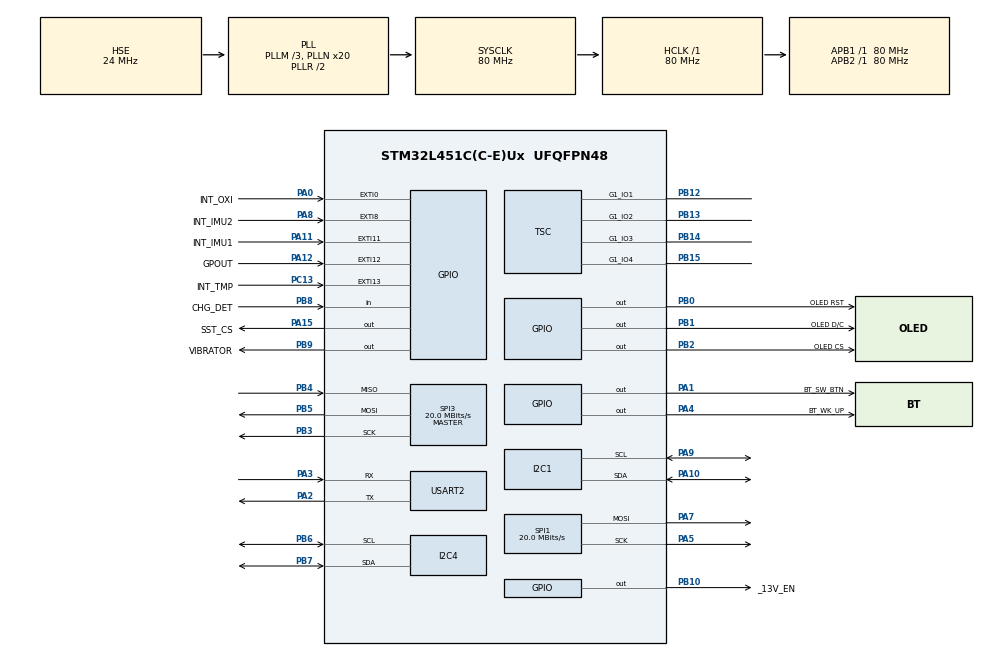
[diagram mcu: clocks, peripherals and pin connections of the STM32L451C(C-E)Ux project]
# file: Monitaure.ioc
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I2C1.Timing=0x10909CEC
I2C4.Timing=0x10909CEC
Mcu.Family=STM32L4
Mcu.Name=STM32L451C(C-E)Ux
Mcu.Package=UFQFPN48
NVIC.EXTI0_IRQn=true\:0\:0\:false\:false\:true\:true\:true
NVIC.EXTI9_5_IRQn=true\:0\:0\:false\:false\:true\:true\:true
NVIC.PriorityGroup=NVIC_PRIORITYGROUP_4
PA0.GPIO_Label=INT_OXI
PA0.GPIO_ModeDefaultEXTI=GPIO_MODE_IT_FALLING
PA0.GPIO_PuPd=GPIO_PULLUP
PA0.Signal=GPXTI0
PA1.GPIO_Label=BT_SW_BTN
PA1.GPIO_ModeDefaultOutputPP=GPIO_MODE_OUTPUT_PP
PA1.GPIO_PuPd=GPIO_NOPULL
PA1.GPIO_Speed=GPIO_SPEED_FREQ_MEDIUM
PA1.PinState=GPIO_PIN_RESET
PA1.Signal=GPIO_Output
PA10.GPIO_PuPdOD=GPIO_NOPULL
PA10.Mode=I2C
PA10.Signal=I2C1_SDA
PA11.GPIO_Label=INT_IMU1
PA11.GPIO_ModeDefaultEXTI=GPIO_MODE_IT_FALLING
PA11.GPIO_PuPd=GPIO_NOPULL
PA11.Signal=GPXTI11
PA12.GPIO_Label=GPOUT
PA12.GPIO_ModeDefaultEXTI=GPIO_MODE_IT_FALLING
PA12.Signal=GPXTI12
PA13\ (JTMS/SWDIO).Mode=Serial_Wire
PA13\ (JTMS/SWDIO).Signal=SYS_JTMS-SWDIO
PA14\ (JTCK/SWCLK).Mode=Serial_Wire
PA14\ (JTCK/SWCLK).Signal=SYS_JTCK-SWCLK
PA15\ (JTDI).GPIO_Label=SST_CS
PA15\ (JTDI).PinState=GPIO_PIN_SET
PA15\ (JTDI).Signal=GPIO_Output
PA2.GPIO_ModeDefaultPP=GPIO_MODE_AF_PP
PA2.GPIO_PuPd=GPIO_PULLUP
PA2.Mode=Asynchronous
PA2.Signal=USART2_TX
PA3.GPIO_ModeDefaultPP=GPIO_MODE_AF_PP
PA3.GPIO_PuPd=GPIO_PULLUP
PA3.Mode=Asynchronous
PA3.Signal=USART2_RX
PA4.GPIO_Label=BT_WK_UP
PA4.GPIO_ModeDefaultOutputPP=GPIO_MODE_OUTPUT_OD
PA4.GPIO_Speed=GPIO_SPEED_FREQ_MEDIUM
PA4.PinState=GPIO_PIN_SET
PA4.Signal=GPIO_Output
PA5.Mode=TX_Only_Simplex_Unidirect_Master
PA5.Signal=SPI1_SCK
PA7.Mode=TX_Only_Simplex_Unidirect_Master
PA7.Signal=SPI1_MOSI
PA8.GPIO_Label=INT_IMU2
PA8.GPIO_ModeDefaultEXTI=GPIO_MODE_IT_FALLING
PA8.GPIO_PuPd=GPIO_NOPULL
PA8.Signal=GPXTI8
PA9.GPIO_PuPdOD=GPIO_NOPULL
PA9.Mode=I2C
PA9.Signal=I2C1_SCL
PB0.GPIO_Label=OLED RST
PB0.Signal=GPIO_Output
PB1.GPIO_Label=OLED D/C
PB1.Signal=GPIO_Output
PB10.GPIO_Label=_13V_EN
PB10.Signal=GPIO_Output
PB12.Mode=G1_IO1-Channel
PB12.Signal=TSC_G1_IO1
PB13.Mode=G1_IO2-Channel
PB13.Signal=TSC_G1_IO2
PB14.Mode=G1_IO3-Channel
PB14.Signal=TSC_G1_IO3
PB15.Mode=G1_IO4-Sampling
PB15.Signal=TSC_G1_IO4
PB2.GPIO_Label=OLED CS
PB2.PinState=GPIO_PIN_SET
PB2.Signal=GPIO_Output
PB3\ (JTDO/TRACESWO).Mode=Full_Duplex_Master
PB3\ (JTDO/TRACESWO).Signal=SPI3_SCK
PB4\ (NJTRST).Mode=Full_Duplex_Master
PB4\ (NJTRST).Signal=SPI3_MISO
PB5.Mode=Full_Duplex_Master
PB5.Signal=SPI3_MOSI
PB6.GPIO_FM6=I2C_FASTMODEPLUS_PB6
PB6.GPIO_PuPdOD=GPIO_NOPULL
PB6.Mode=I2C
PB6.Signal=I2C4_SCL
PB7.GPIO_FM7=I2C_FASTMODEPLUS_PB7
PB7.GPIO_PuPdOD=GPIO_NOPULL
PB7.Mode=I2C
PB7.Signal=I2C4_SDA
PB8.GPIO_Label=CHG_DET
PB8.Signal=GPIO_Input
PB9.GPIO_Label=VIBRATOR
PB9.GPIO_ModeDefaultOutputPP=GPIO_MODE_OUTPUT_PP
PB9.GPIO_PuPd=GPIO_NOPULL
PB9.GPIO_Speed=GPIO_SPEED_FREQ_MEDIUM
PB9.PinState=GPIO_PIN_RESET
PB9.Signal=GPIO_Output
PC13.GPIO_Label=INT_TMP
PC13.GPIO_ModeDefaultEXTI=GPIO_MODE_IT_FALLING
PC13.GPIO_PuPd=GPIO_PULLUP
PC13.Signal=GPXTI13
PC14-OSC32_IN\ (PC14).Mode=LSE-External-Oscillator
PC14-OSC32_IN\ (PC14).Signal=RCC_OSC32_IN
PC15-OSC32_OUT\ (PC15).Mode=LSE-External-Oscillator
PC15-OSC32_OUT\ (PC15).Signal=RCC_OSC32_OUT
PH0-OSC_IN\ (PH0).Mode=HSE-External-Oscillator
PH0-OSC_IN\ (PH0).Signal=RCC_OSC_IN
PH1-OSC_OUT\ (PH1).Mode=HSE-External-Oscillator
PH1-OSC_OUT\ (PH1).Signal=RCC_OSC_OUT
ProjectManager.HeapSize=0x200
ProjectManager.StackSize=0x400
ProjectManager.TargetToolchain=STM32CubeIDE
RCC.ADCFreq_Value=32000000
RCC.AHBFreq_Value=80000000
RCC.APB1Freq_Value=80000000
RCC.APB1TimFreq_Value=80000000
RCC.APB2Freq_Value=80000000
RCC.APB2TimFreq_Value=80000000
RCC.CortexFreq_Value=80000000
RCC.HCLKFreq_Value=80000000
RCC.HSE_VALUE=24000000
RCC.HSI48_VALUE=48000000
RCC.HSI_VALUE=16000000
RCC.MSI_VALUE=4000000
RCC.PLLM=3
RCC.PLLN=20
RCC.PLLSourceVirtual=RCC_PLLSOURCE_HSE
RCC.RTCClockSelection=RCC_RTCCLKSOURCE_LSE
RCC.SYSCLKFreq_VALUE=80000000
RCC.SYSCLKSource=RCC_SYSCLKSOURCE_PLLCLK
RCC.VCOOutputFreq_Value=160000000
SPI1.BaudRatePrescaler=SPI_BAUDRATEPRESCALER_4
SPI1.CalculateBaudRate=20.0 MBits/s
SPI1.DataSize=SPI_DATASIZE_8BIT
SPI1.Direction=SPI_DIRECTION_2LINES
SPI1.Mode=SPI_MODE_MASTER
SPI1.VirtualType=VM_MASTER
SPI3.BaudRatePrescaler=SPI_BAUDRATEPRESCALER_4
SPI3.CalculateBaudRate=20.0 MBits/s
SPI3.DataSize=SPI_DATASIZE_8BIT
SPI3.Direction=SPI_DIRECTION_2LINES
SPI3.Mode=SPI_MODE_MASTER
SPI3.VirtualType=VM_MASTER
TSC.ChannelIOs-G1_IO1-Channel=TSC_GROUP1_IO1
TSC.ChannelIOs-G1_IO2-Channel=TSC_GROUP1_IO2
TSC.ChannelIOs-G1_IO3-Channel=TSC_GROUP1_IO3
TSC.SamplingIOs-G1_IO4-Sampling=TSC_GROUP1_IO4
USART2.VirtualMode-Asynchronous=VM_ASYNC
VP_RTC_VS_RTC_Activate.Mode=RTC_Enabled
VP_RTC_VS_RTC_Calendar.Mode=RTC_Calendar
VP_TOUCHSENSING_VS_TOUCHSENSING.Mode=TouchSensing_Enabled
board=custom

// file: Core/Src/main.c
/* USER CODE BEGIN Header */
/**
  ******************************************************************************
  * @file           : main.c
  * @brief          : Main program body
  ******************************************************************************
  * @attention
  *
  * <h2><center>&copy; Copyright (c) 2020 STMicroelectronics.
  * All rights reserved.</center></h2>
  *
  * This software component is licensed by ST under BSD 3-Clause license,
  * the "License"; You may not use this file except in compliance with the
  * License. You may obtain a copy of the License at:
  *                        opensource.org/licenses/BSD-3-Clause
  *
  ******************************************************************************
  */
/* USER CODE END Header */
#include "main.h"

/* USER CODE BEGIN Includes */
#include <stdio.h>
#include <string.h>
#include "../inc/global.h"
#include "../../Monitaure_Drivers/Inc/stm32l4xx_ssd1351.h"
#include "../../Monitaure_Drivers/Inc/stm32l4xx_tmp007.h"
#include "../../Monitaure_Drivers/Inc/stm32l4xx_bme280.h"
#include "../../Monitaure_Drivers/Inc/stm32l4xx_is1678.h"
#include "../../Monitaure_Drivers/Inc/bluetooth.h"
#include "../../Monitaure_Drivers/Inc/stm32l4xx_max86150.h"
/* USER CODE END Includes */

I2C_HandleTypeDef hi2c1;
I2C_HandleTypeDef hi2c4;

RTC_HandleTypeDef hrtc;

SPI_HandleTypeDef hspi1;
SPI_HandleTypeDef hspi3;

TSC_HandleTypeDef htsc;

UART_HandleTypeDef huart2;

/* USER CODE BEGIN PV */
uint8_t rxBuffer[50];
float temperature;
float dieTemperature;
/* USER CODE END PV */

void SystemClock_Config(void);
static void MX_GPIO_Init(void);
static void MX_I2C1_Init(void);
static void MX_I2C4_Init(void);
static void MX_SPI1_Init(void);
static void MX_SPI3_Init(void);
static void MX_TSC_Init(void);
static void MX_USART2_UART_Init(void);
static void MX_RTC_Init(void);

int main(void)
{

  /* MCU Configuration--------------------------------------------------------*/

  /* Reset of all peripherals, Initializes the Flash interface and the Systick. */
  HAL_Init();

  /* Configure the system clock */
  SystemClock_Config();

  /* Initialize all configured peripherals */
  MX_GPIO_Init();
  MX_I2C1_Init();
  MX_I2C4_Init();
  MX_SPI1_Init();
  MX_SPI3_Init();
  MX_TSC_Init();
  MX_USART2_UART_Init();
  MX_RTC_Init();
  /* USER CODE BEGIN 2 */
  /* Disable all interrupts */
    //__disable_irq();

  	if (SSD1351_Init() != STATUS_OK) {
  	  		return(STATUS_KO);
	}

  	if (TMP007_Init() != STATUS_OK) {
  		return(STATUS_KO);
  	}

  	if (BME280_Init() != STATUS_OK) {
  		return(STATUS_KO);
  	}

  	/* Bluetooth module ON */
  	HAL_GPIO_WritePin(BT_SW_BTN_GPIO_Port, BT_SW_BTN_Pin, GPIO_PIN_SET);
  	/* Bluetooth module AWAKE */
  	IS1678_WakeUp();

  	IS1678_Init(&huart2);

  	//HAL_UART_Receive_IT(&huart2, rxBuffer, 10);
  /* USER CODE END 2 */

  /* Infinite loop */
  /* USER CODE BEGIN WHILE */
  while (1)
  {
	  bluetooth_SerialPrint("Hello");
	  HAL_Delay(1000);
	  bluetooth_SerialPrint("Hello");
	  HAL_Delay(1000);
	  bluetooth_SerialPrint("Hello");
	  HAL_Delay(1000);
	  bluetooth_SerialPrint("Hello");
	  HAL_Delay(1000);
	  bluetooth_SerialPrint("Hello");
	  HAL_Delay(1000);
	  bluetooth_SerialPrint("Hello");
	  HAL_Delay(1000);
    /* USER CODE END WHILE */

  }
}

void SystemClock_Config(void)
{
  RCC_OscInitTypeDef RCC_OscInitStruct = {0};
  RCC_ClkInitTypeDef RCC_ClkInitStruct = {0};
  RCC_PeriphCLKInitTypeDef PeriphClkInit = {0};

  /** Configure LSE Drive Capability
  */
  HAL_PWR_EnableBkUpAccess();
  __HAL_RCC_LSEDRIVE_CONFIG(RCC_LSEDRIVE_LOW);
  /** Initializes the RCC Oscillators according to the specified parameters
  * in the RCC_OscInitTypeDef structure.
  */
  RCC_OscInitStruct.OscillatorType = RCC_OSCILLATORTYPE_HSE|RCC_OSCILLATORTYPE_LSE;
  RCC_OscInitStruct.HSEState = RCC_HSE_ON;
  RCC_OscInitStruct.LSEState = RCC_LSE_ON;
  RCC_OscInitStruct.PLL.PLLState = RCC_PLL_ON;
  RCC_OscInitStruct.PLL.PLLSource = RCC_PLLSOURCE_HSE;
  RCC_OscInitStruct.PLL.PLLM = 3;
  RCC_OscInitStruct.PLL.PLLN = 20;
  RCC_OscInitStruct.PLL.PLLP = RCC_PLLP_DIV7;
  RCC_OscInitStruct.PLL.PLLQ = RCC_PLLQ_DIV2;
  RCC_OscInitStruct.PLL.PLLR = RCC_PLLR_DIV2;
  if (HAL_RCC_OscConfig(&RCC_OscInitStruct) != HAL_OK)
  {
    Error_Handler();
  }
  /** Initializes the CPU, AHB and APB buses clocks
  */
  RCC_ClkInitStruct.ClockType = RCC_CLOCKTYPE_HCLK|RCC_CLOCKTYPE_SYSCLK
                              |RCC_CLOCKTYPE_PCLK1|RCC_CLOCKTYPE_PCLK2;
  RCC_ClkInitStruct.SYSCLKSource = RCC_SYSCLKSOURCE_PLLCLK;
  RCC_ClkInitStruct.AHBCLKDivider = RCC_SYSCLK_DIV1;
  RCC_ClkInitStruct.APB1CLKDivider = RCC_HCLK_DIV1;
  RCC_ClkInitStruct.APB2CLKDivider = RCC_HCLK_DIV1;

  if (HAL_RCC_ClockConfig(&RCC_ClkInitStruct, FLASH_LATENCY_4) != HAL_OK)
  {
    Error_Handler();
  }
  PeriphClkInit.PeriphClockSelection = RCC_PERIPHCLK_RTC|RCC_PERIPHCLK_USART2
                              |RCC_PERIPHCLK_I2C1|RCC_PERIPHCLK_I2C4;
  PeriphClkInit.Usart2ClockSelection = RCC_USART2CLKSOURCE_PCLK1;
  PeriphClkInit.I2c1ClockSelection = RCC_I2C1CLKSOURCE_PCLK1;
  PeriphClkInit.I2c4ClockSelection = RCC_I2C4CLKSOURCE_PCLK1;
  PeriphClkInit.RTCClockSelection = RCC_RTCCLKSOURCE_LSE;
  if (HAL_RCCEx_PeriphCLKConfig(&PeriphClkInit) != HAL_OK)
  {
    Error_Handler();
  }
  /** Configure the main internal regulator output voltage
  */
  if (HAL_PWREx_ControlVoltageScaling(PWR_REGULATOR_VOLTAGE_SCALE1) != HAL_OK)
  {
    Error_Handler();
  }
}

static void MX_I2C1_Init(void)
{

  hi2c1.Instance = I2C1;
  hi2c1.Init.Timing = 0x10909CEC;
  hi2c1.Init.OwnAddress1 = 0;
  hi2c1.Init.AddressingMode = I2C_ADDRESSINGMODE_7BIT;
  hi2c1.Init.DualAddressMode = I2C_DUALADDRESS_DISABLE;
  hi2c1.Init.OwnAddress2 = 0;
  hi2c1.Init.OwnAddress2Masks = I2C_OA2_NOMASK;
  hi2c1.Init.GeneralCallMode = I2C_GENERALCALL_DISABLE;
  hi2c1.Init.NoStretchMode = I2C_NOSTRETCH_DISABLE;
  if (HAL_I2C_Init(&hi2c1) != HAL_OK)
  {
    Error_Handler();
  }
  /** Configure Analogue filter
  */
  if (HAL_I2CEx_ConfigAnalogFilter(&hi2c1, I2C_ANALOGFILTER_ENABLE) != HAL_OK)
  {
    Error_Handler();
  }
  /** Configure Digital filter
  */
  if (HAL_I2CEx_ConfigDigitalFilter(&hi2c1, 0) != HAL_OK)
  {
    Error_Handler();
  }

}

static void MX_I2C4_Init(void)
{

  hi2c4.Instance = I2C4;
  hi2c4.Init.Timing = 0x10909CEC;
  hi2c4.Init.OwnAddress1 = 0;
  hi2c4.Init.AddressingMode = I2C_ADDRESSINGMODE_7BIT;
  hi2c4.Init.DualAddressMode = I2C_DUALADDRESS_DISABLE;
  hi2c4.Init.OwnAddress2 = 0;
  hi2c4.Init.OwnAddress2Masks = I2C_OA2_NOMASK;
  hi2c4.Init.GeneralCallMode = I2C_GENERALCALL_DISABLE;
  hi2c4.Init.NoStretchMode = I2C_NOSTRETCH_DISABLE;
  if (HAL_I2C_Init(&hi2c4) != HAL_OK)
  {
    Error_Handler();
  }
  /** Configure Analogue filter
  */
  if (HAL_I2CEx_ConfigAnalogFilter(&hi2c4, I2C_ANALOGFILTER_ENABLE) != HAL_OK)
  {
    Error_Handler();
  }
  /** Configure Digital filter
  */
  if (HAL_I2CEx_ConfigDigitalFilter(&hi2c4, 0) != HAL_OK)
  {
    Error_Handler();
  }

}

static void MX_RTC_Init(void)
{

  RTC_TimeTypeDef sTime = {0};
  RTC_DateTypeDef sDate = {0};

  /** Initialize RTC Only
  */
  hrtc.Instance = RTC;
  hrtc.Init.HourFormat = RTC_HOURFORMAT_24;
  hrtc.Init.AsynchPrediv = 127;
  hrtc.Init.SynchPrediv = 255;
  hrtc.Init.OutPut = RTC_OUTPUT_DISABLE;
  hrtc.Init.OutPutRemap = RTC_OUTPUT_REMAP_NONE;
  hrtc.Init.OutPutPolarity = RTC_OUTPUT_POLARITY_HIGH;
  hrtc.Init.OutPutType = RTC_OUTPUT_TYPE_OPENDRAIN;
  if (HAL_RTC_Init(&hrtc) != HAL_OK)
  {
    Error_Handler();
  }

  /** Initialize RTC and set the Time and Date
  */
  sTime.Hours = 0x0;
  sTime.Minutes = 0x0;
  sTime.Seconds = 0x0;
  sTime.DayLightSaving = RTC_DAYLIGHTSAVING_NONE;
  sTime.StoreOperation = RTC_STOREOPERATION_RESET;
  if (HAL_RTC_SetTime(&hrtc, &sTime, RTC_FORMAT_BCD) != HAL_OK)
  {
    Error_Handler();
  }
  sDate.WeekDay = RTC_WEEKDAY_MONDAY;
  sDate.Month = RTC_MONTH_JANUARY;
  sDate.Date = 0x1;
  sDate.Year = 0x0;

  if (HAL_RTC_SetDate(&hrtc, &sDate, RTC_FORMAT_BCD) != HAL_OK)
  {
    Error_Handler();
  }

}

static void MX_SPI1_Init(void)
{

  /* SPI1 parameter configuration*/
  hspi1.Instance = SPI1;
  hspi1.Init.Mode = SPI_MODE_MASTER;
  hspi1.Init.Direction = SPI_DIRECTION_2LINES;
  hspi1.Init.DataSize = SPI_DATASIZE_8BIT;
  hspi1.Init.CLKPolarity = SPI_POLARITY_LOW;
  hspi1.Init.CLKPhase = SPI_PHASE_1EDGE;
  hspi1.Init.NSS = SPI_NSS_SOFT;
  hspi1.Init.BaudRatePrescaler = SPI_BAUDRATEPRESCALER_4;
  hspi1.Init.FirstBit = SPI_FIRSTBIT_MSB;
  hspi1.Init.TIMode = SPI_TIMODE_DISABLE;
  hspi1.Init.CRCCalculation = SPI_CRCCALCULATION_DISABLE;
  hspi1.Init.CRCPolynomial = 7;
  hspi1.Init.CRCLength = SPI_CRC_LENGTH_DATASIZE;
  hspi1.Init.NSSPMode = SPI_NSS_PULSE_ENABLE;
  if (HAL_SPI_Init(&hspi1) != HAL_OK)
  {
    Error_Handler();
  }

}

static void MX_SPI3_Init(void)
{

  /* SPI3 parameter configuration*/
  hspi3.Instance = SPI3;
  hspi3.Init.Mode = SPI_MODE_MASTER;
  hspi3.Init.Direction = SPI_DIRECTION_2LINES;
  hspi3.Init.DataSize = SPI_DATASIZE_8BIT;
  hspi3.Init.CLKPolarity = SPI_POLARITY_LOW;
  hspi3.Init.CLKPhase = SPI_PHASE_1EDGE;
  hspi3.Init.NSS = SPI_NSS_SOFT;
  hspi3.Init.BaudRatePrescaler = SPI_BAUDRATEPRESCALER_4;
  hspi3.Init.FirstBit = SPI_FIRSTBIT_MSB;
  hspi3.Init.TIMode = SPI_TIMODE_DISABLE;
  hspi3.Init.CRCCalculation = SPI_CRCCALCULATION_DISABLE;
  hspi3.Init.CRCPolynomial = 7;
  hspi3.Init.CRCLength = SPI_CRC_LENGTH_DATASIZE;
  hspi3.Init.NSSPMode = SPI_NSS_PULSE_ENABLE;
  if (HAL_SPI_Init(&hspi3) != HAL_OK)
  {
    Error_Handler();
  }

}

static void MX_TSC_Init(void)
{

  /** Configure the TSC peripheral
  */
  htsc.Instance = TSC;
  htsc.Init.CTPulseHighLength = TSC_CTPH_2CYCLES;
  htsc.Init.CTPulseLowLength = TSC_CTPL_2CYCLES;
  htsc.Init.SpreadSpectrum = DISABLE;
  htsc.Init.SpreadSpectrumDeviation = 1;
  htsc.Init.SpreadSpectrumPrescaler = TSC_SS_PRESC_DIV1;
  htsc.Init.PulseGeneratorPrescaler = TSC_PG_PRESC_DIV4;
  htsc.Init.MaxCountValue = TSC_MCV_8191;
  htsc.Init.IODefaultMode = TSC_IODEF_OUT_PP_LOW;
  htsc.Init.SynchroPinPolarity = TSC_SYNC_POLARITY_FALLING;
  htsc.Init.AcquisitionMode = TSC_ACQ_MODE_NORMAL;
  htsc.Init.MaxCountInterrupt = DISABLE;
  htsc.Init.ChannelIOs = TSC_GROUP1_IO1|TSC_GROUP1_IO2|TSC_GROUP1_IO3;
  htsc.Init.ShieldIOs = 0;
  htsc.Init.SamplingIOs = TSC_GROUP1_IO4;
  if (HAL_TSC_Init(&htsc) != HAL_OK)
  {
    Error_Handler();
  }

}

static void MX_USART2_UART_Init(void)
{

  huart2.Instance = USART2;
  huart2.Init.BaudRate = 115200;
  huart2.Init.WordLength = UART_WORDLENGTH_8B;
  huart2.Init.StopBits = UART_STOPBITS_1;
  huart2.Init.Parity = UART_PARITY_NONE;
  huart2.Init.Mode = UART_MODE_TX_RX;
  huart2.Init.HwFlowCtl = UART_HWCONTROL_NONE;
  huart2.Init.OverSampling = UART_OVERSAMPLING_16;
  huart2.Init.OneBitSampling = UART_ONE_BIT_SAMPLE_DISABLE;
  huart2.AdvancedInit.AdvFeatureInit = UART_ADVFEATURE_NO_INIT;
  if (HAL_UART_Init(&huart2) != HAL_OK)
  {
    Error_Handler();
  }

}

static void MX_GPIO_Init(void)
{
  GPIO_InitTypeDef GPIO_InitStruct = {0};

  /* GPIO Ports Clock Enable */
  __HAL_RCC_GPIOC_CLK_ENABLE();
  __HAL_RCC_GPIOH_CLK_ENABLE();
  __HAL_RCC_GPIOA_CLK_ENABLE();
  __HAL_RCC_GPIOB_CLK_ENABLE();

  /*Configure GPIO pin Output Level */
  HAL_GPIO_WritePin(BT_SW_BTN_GPIO_Port, BT_SW_BTN_Pin, GPIO_PIN_RESET);

  /*Configure GPIO pin Output Level */
  HAL_GPIO_WritePin(GPIOA, BT_WK_UP_Pin|SST_CS_Pin, GPIO_PIN_SET);

  /*Configure GPIO pin Output Level */
  HAL_GPIO_WritePin(GPIOB, OLED_RST_Pin|OLED_D_C_Pin|_13V_EN_Pin|VIBRATOR_Pin, GPIO_PIN_RESET);

  /*Configure GPIO pin Output Level */
  HAL_GPIO_WritePin(OLED_CS_GPIO_Port, OLED_CS_Pin, GPIO_PIN_SET);

  /*Configure GPIO pin : INT_TMP_Pin */
  GPIO_InitStruct.Pin = INT_TMP_Pin;
  GPIO_InitStruct.Mode = GPIO_MODE_IT_FALLING;
  GPIO_InitStruct.Pull = GPIO_PULLUP;
  HAL_GPIO_Init(INT_TMP_GPIO_Port, &GPIO_InitStruct);

  /*Configure GPIO pin : INT_OXI_Pin */
  GPIO_InitStruct.Pin = INT_OXI_Pin;
  GPIO_InitStruct.Mode = GPIO_MODE_IT_FALLING;
  GPIO_InitStruct.Pull = GPIO_PULLUP;
  HAL_GPIO_Init(INT_OXI_GPIO_Port, &GPIO_InitStruct);

  /*Configure GPIO pin : BT_SW_BTN_Pin */
  GPIO_InitStruct.Pin = BT_SW_BTN_Pin;
  GPIO_InitStruct.Mode = GPIO_MODE_OUTPUT_PP;
  GPIO_InitStruct.Pull = GPIO_NOPULL;
  GPIO_InitStruct.Speed = GPIO_SPEED_FREQ_MEDIUM;
  HAL_GPIO_Init(BT_SW_BTN_GPIO_Port, &GPIO_InitStruct);

  /*Configure GPIO pin : BT_WK_UP_Pin */
  GPIO_InitStruct.Pin = BT_WK_UP_Pin;
  GPIO_InitStruct.Mode = GPIO_MODE_OUTPUT_OD;
  GPIO_InitStruct.Pull = GPIO_NOPULL;
  GPIO_InitStruct.Speed = GPIO_SPEED_FREQ_MEDIUM;
  HAL_GPIO_Init(BT_WK_UP_GPIO_Port, &GPIO_InitStruct);

  /*Configure GPIO pins : OLED_RST_Pin OLED_D_C_Pin OLED_CS_Pin _13V_EN_Pin */
  GPIO_InitStruct.Pin = OLED_RST_Pin|OLED_D_C_Pin|OLED_CS_Pin|_13V_EN_Pin;
  GPIO_InitStruct.Mode = GPIO_MODE_OUTPUT_PP;
  GPIO_InitStruct.Pull = GPIO_NOPULL;
  GPIO_InitStruct.Speed = GPIO_SPEED_FREQ_LOW;
  HAL_GPIO_Init(GPIOB, &GPIO_InitStruct);

  /*Configure GPIO pins : INT_IMU2_Pin INT_IMU1_Pin GPOUT_Pin */
  GPIO_InitStruct.Pin = INT_IMU2_Pin|INT_IMU1_Pin|GPOUT_Pin;
  GPIO_InitStruct.Mode = GPIO_MODE_IT_FALLING;
  GPIO_InitStruct.Pull = GPIO_NOPULL;
  HAL_GPIO_Init(GPIOA, &GPIO_InitStruct);

  /*Configure GPIO pin : SST_CS_Pin */
  GPIO_InitStruct.Pin = SST_CS_Pin;
  GPIO_InitStruct.Mode = GPIO_MODE_OUTPUT_PP;
  GPIO_InitStruct.Pull = GPIO_NOPULL;
  GPIO_InitStruct.Speed = GPIO_SPEED_FREQ_LOW;
  HAL_GPIO_Init(SST_CS_GPIO_Port, &GPIO_InitStruct);

  /*Configure GPIO pin : CHG_DET_Pin */
  GPIO_InitStruct.Pin = CHG_DET_Pin;
  GPIO_InitStruct.Mode = GPIO_MODE_INPUT;
  GPIO_InitStruct.Pull = GPIO_NOPULL;
  HAL_GPIO_Init(CHG_DET_GPIO_Port, &GPIO_InitStruct);

  /*Configure GPIO pin : VIBRATOR_Pin */
  GPIO_InitStruct.Pin = VIBRATOR_Pin;
  GPIO_InitStruct.Mode = GPIO_MODE_OUTPUT_PP;
  GPIO_InitStruct.Pull = GPIO_NOPULL;
  GPIO_InitStruct.Speed = GPIO_SPEED_FREQ_MEDIUM;
  HAL_GPIO_Init(VIBRATOR_GPIO_Port, &GPIO_InitStruct);

  /* EXTI interrupt init*/
  HAL_NVIC_SetPriority(EXTI0_IRQn, 0, 0);
  HAL_NVIC_EnableIRQ(EXTI0_IRQn);

  HAL_NVIC_SetPriority(EXTI9_5_IRQn, 0, 0);
  HAL_NVIC_EnableIRQ(EXTI9_5_IRQn);

}

/* USER CODE BEGIN 4 */
void HAL_GPIO_EXTI_Callback(uint16_t GPIO_Pin)
{
	if (GPIO_Pin == INT_TMP_Pin) {
	} else if (GPIO_Pin == INT_OXI_Pin) {
		HAL_Delay(10);
	} else if (GPIO_Pin == INT_IMU1_Pin) {
		HAL_Delay(10);
	} else if (GPIO_Pin == INT_IMU2_Pin) {
		HAL_Delay(10);
	} else if (GPIO_Pin == GPOUT_Pin) {
		HAL_Delay(10);
	}
}
/* USER CODE END 4 */

void Error_Handler(void)
{
}

/************************ (C) COPYRIGHT STMicroelectronics *****END OF FILE****/
